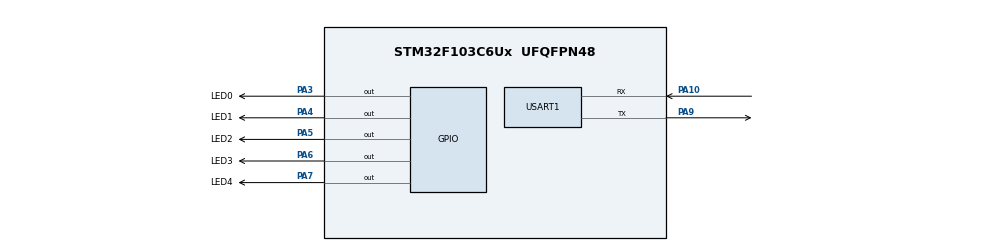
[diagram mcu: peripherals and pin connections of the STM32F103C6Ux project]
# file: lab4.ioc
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Mcu.Family=STM32F1
Mcu.Name=STM32F103C6Ux
Mcu.Package=UFQFPN48
NVIC.PriorityGroup=NVIC_PRIORITYGROUP_4
NVIC.TIM2_IRQn=true\:0\:0\:false\:false\:true\:true\:true
PA10.Mode=Asynchronous
PA10.Signal=USART1_RX
PA3.GPIO_Label=LED0
PA3.Signal=GPIO_Output
PA4.GPIO_Label=LED1
PA4.Signal=GPIO_Output
PA5.GPIO_Label=LED2
PA5.Signal=GPIO_Output
PA6.GPIO_Label=LED3
PA6.Signal=GPIO_Output
PA7.GPIO_Label=LED4
PA7.Signal=GPIO_Output
PA9.Mode=Asynchronous
PA9.Signal=USART1_TX
ProjectManager.HeapSize=0x200
ProjectManager.StackSize=0x400
ProjectManager.TargetToolchain=STM32CubeIDE
RCC.APB1Freq_Value=8000000
RCC.APB2Freq_Value=8000000
TIM2.Period=10
TIM2.Prescaler=7999
USART1.VirtualMode=VM_ASYNC
VP_SYS_VS_ND.Mode=No_Debug
VP_TIM2_VS_ClockSourceINT.Mode=Internal
board=custom

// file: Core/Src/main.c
/* USER CODE BEGIN Header */
/**
  ******************************************************************************
  * @file           : main.c
  * @brief          : Main program body
  ******************************************************************************
  * @attention
  *
  * <h2><center>&copy; Copyright (c) 2026 STMicroelectronics.
  * All rights reserved.</center></h2>
  *
  * This software component is licensed by ST under BSD 3-Clause license,
  * the "License"; You may not use this file except in compliance with the
  * License. You may obtain a copy of the License at:
  *                        opensource.org/licenses/BSD-3-Clause
  *
  ******************************************************************************
  */
/* USER CODE END Header */
#include "main.h"

/* USER CODE BEGIN Includes */
#include "scheduler.h"
#include <stdio.h>
/* USER CODE END Includes */

TIM_HandleTypeDef htim2;

UART_HandleTypeDef huart1;

void SystemClock_Config(void);
static void MX_TIM2_Init(void);
static void MX_GPIO_Init(void);
static void MX_USART1_UART_Init(void);

/* USER CODE BEGIN 0 */
void Task0(void) { HAL_GPIO_TogglePin(LED0_GPIO_Port, LED0_Pin); }	// 0.5 s
void Task1(void) { HAL_GPIO_TogglePin(LED1_GPIO_Port, LED1_Pin); }	// 1 s
void Task2(void) { HAL_GPIO_TogglePin(LED2_GPIO_Port, LED2_Pin); }	// 1.5 s
void Task3(void) { HAL_GPIO_TogglePin(LED3_GPIO_Port, LED3_Pin); }	// 2 s
void Task4(void) { HAL_GPIO_TogglePin(LED4_GPIO_Port, LED4_Pin); }	// 2.5 s

// --- demo tasks: each one prints a tag and the value of get_time() ---
void PrintTime(const char *tag)
{
    char buf[40];
    int n = sprintf(buf, "%s t=%lu ms\r\n", tag, (unsigned long)get_time());
    HAL_UART_Transmit(&huart1, (uint8_t *)buf, n, 10);
}

uint32_t id10ms;

void Task10ms(void)   { PrintTime("[10ms ]"); }
void Print500ms(void) { PrintTime("[500ms]"); }
void Print1s(void)    { PrintTime("[1s   ]"); }
void ShotA(void)      { PrintTime("[shot A]"); }
void ShotB(void)      { PrintTime("[shot B]"); }
void ShotC(void)      { PrintTime("[shot C]"); }
void Stop10ms(void)
{
    SCH_Delete_Task(id10ms);            // demonstrates SCH_Delete_Task
    PrintTime("[10ms stopped]");
}
/* USER CODE END 0 */

int main(void)
{

  /* MCU Configuration--------------------------------------------------------*/

  /* Reset of all peripherals, Initializes the Flash interface and the Systick. */
  HAL_Init();

  /* Configure the system clock */
  SystemClock_Config();

  /* Initialize all configured peripherals */
  MX_TIM2_Init();
  MX_GPIO_Init();
  MX_USART1_UART_Init();
  /* USER CODE BEGIN 2 */
  SCH_Init();

  // 1 tick = 10 ms --> 50 = 0.5 s, 100 = 1 s,...and so on.
  SCH_Add_Task(Task0, 0, 50);
  SCH_Add_Task(Task1, 1, 100);
  SCH_Add_Task(Task2, 2, 150);
  SCH_Add_Task(Task3, 3, 200);
  SCH_Add_Task(Task4, 4, 250);

  // periodic callbacks that print the time
  id10ms = SCH_Add_Task(Task10ms, 5, 1);	// every 10 ms
  SCH_Add_Task(Print500ms, 7, 50);			// every 500 ms
  SCH_Add_Task(Print1s, 9, 100);			// every 1 s (a different interval, running concurrently)
  SCH_Add_Task(Stop10ms, 200, 0);			// at 2 s: delete the 10 ms task

  // one-shots
  SCH_Add_Task(ShotA, 300, 0);				// 3 s
  SCH_Add_Task(ShotB, 500, 0);				// 5 s
  SCH_Add_Task(ShotC, 800, 0);				// 8 s

  HAL_TIM_Base_Start_IT(&htim2);
  /* USER CODE END 2 */

  /* Infinite loop */
  while (1)
  {
	SCH_Dispatch_Tasks();
  }
}

void SystemClock_Config(void)
{
  RCC_OscInitTypeDef RCC_OscInitStruct = {0};
  RCC_ClkInitTypeDef RCC_ClkInitStruct = {0};

  /** Initializes the RCC Oscillators according to the specified parameters
  * in the RCC_OscInitTypeDef structure.
  */
  RCC_OscInitStruct.OscillatorType = RCC_OSCILLATORTYPE_HSI;
  RCC_OscInitStruct.HSIState = RCC_HSI_ON;
  RCC_OscInitStruct.HSICalibrationValue = RCC_HSICALIBRATION_DEFAULT;
  RCC_OscInitStruct.PLL.PLLState = RCC_PLL_NONE;
  if (HAL_RCC_OscConfig(&RCC_OscInitStruct) != HAL_OK)
  {
    Error_Handler();
  }
  /** Initializes the CPU, AHB and APB buses clocks
  */
  RCC_ClkInitStruct.ClockType = RCC_CLOCKTYPE_HCLK|RCC_CLOCKTYPE_SYSCLK
                              |RCC_CLOCKTYPE_PCLK1|RCC_CLOCKTYPE_PCLK2;
  RCC_ClkInitStruct.SYSCLKSource = RCC_SYSCLKSOURCE_HSI;
  RCC_ClkInitStruct.AHBCLKDivider = RCC_SYSCLK_DIV1;
  RCC_ClkInitStruct.APB1CLKDivider = RCC_HCLK_DIV1;
  RCC_ClkInitStruct.APB2CLKDivider = RCC_HCLK_DIV1;

  if (HAL_RCC_ClockConfig(&RCC_ClkInitStruct, FLASH_LATENCY_0) != HAL_OK)
  {
    Error_Handler();
  }
}

static void MX_TIM2_Init(void)
{

  TIM_ClockConfigTypeDef sClockSourceConfig = {0};
  TIM_MasterConfigTypeDef sMasterConfig = {0};

  htim2.Instance = TIM2;
  htim2.Init.Prescaler = 7999;
  htim2.Init.CounterMode = TIM_COUNTERMODE_UP;
  htim2.Init.Period = 10;
  htim2.Init.ClockDivision = TIM_CLOCKDIVISION_DIV1;
  htim2.Init.AutoReloadPreload = TIM_AUTORELOAD_PRELOAD_DISABLE;
  if (HAL_TIM_Base_Init(&htim2) != HAL_OK)
  {
    Error_Handler();
  }
  sClockSourceConfig.ClockSource = TIM_CLOCKSOURCE_INTERNAL;
  if (HAL_TIM_ConfigClockSource(&htim2, &sClockSourceConfig) != HAL_OK)
  {
    Error_Handler();
  }
  sMasterConfig.MasterOutputTrigger = TIM_TRGO_RESET;
  sMasterConfig.MasterSlaveMode = TIM_MASTERSLAVEMODE_DISABLE;
  if (HAL_TIMEx_MasterConfigSynchronization(&htim2, &sMasterConfig) != HAL_OK)
  {
    Error_Handler();
  }

}

static void MX_USART1_UART_Init(void)
{

  huart1.Instance = USART1;
  huart1.Init.BaudRate = 115200;
  huart1.Init.WordLength = UART_WORDLENGTH_8B;
  huart1.Init.StopBits = UART_STOPBITS_1;
  huart1.Init.Parity = UART_PARITY_NONE;
  huart1.Init.Mode = UART_MODE_TX_RX;
  huart1.Init.HwFlowCtl = UART_HWCONTROL_NONE;
  huart1.Init.OverSampling = UART_OVERSAMPLING_16;
  if (HAL_UART_Init(&huart1) != HAL_OK)
  {
    Error_Handler();
  }

}

static void MX_GPIO_Init(void)
{
  GPIO_InitTypeDef GPIO_InitStruct = {0};

  /* GPIO Ports Clock Enable */
  __HAL_RCC_GPIOA_CLK_ENABLE();

  /*Configure GPIO pin Output Level */
  HAL_GPIO_WritePin(GPIOA, LED0_Pin|LED1_Pin|LED2_Pin|LED3_Pin
                          |LED4_Pin, GPIO_PIN_RESET);

  /*Configure GPIO pins : LED0_Pin LED1_Pin LED2_Pin LED3_Pin
                           LED4_Pin */
  GPIO_InitStruct.Pin = LED0_Pin|LED1_Pin|LED2_Pin|LED3_Pin
                          |LED4_Pin;
  GPIO_InitStruct.Mode = GPIO_MODE_OUTPUT_PP;
  GPIO_InitStruct.Pull = GPIO_NOPULL;
  GPIO_InitStruct.Speed = GPIO_SPEED_FREQ_LOW;
  HAL_GPIO_Init(GPIOA, &GPIO_InitStruct);

}

/* USER CODE BEGIN 4 */
void HAL_TIM_PeriodElapsedCallback(TIM_HandleTypeDef *htim)
{
    if (htim->Instance == TIM2)
        SCH_Update();
}
/* USER CODE END 4 */

void Error_Handler(void)
{
  __disable_irq();
  while (1)
  {
  }
}

/************************ (C) COPYRIGHT STMicroelectronics *****END OF FILE****/
